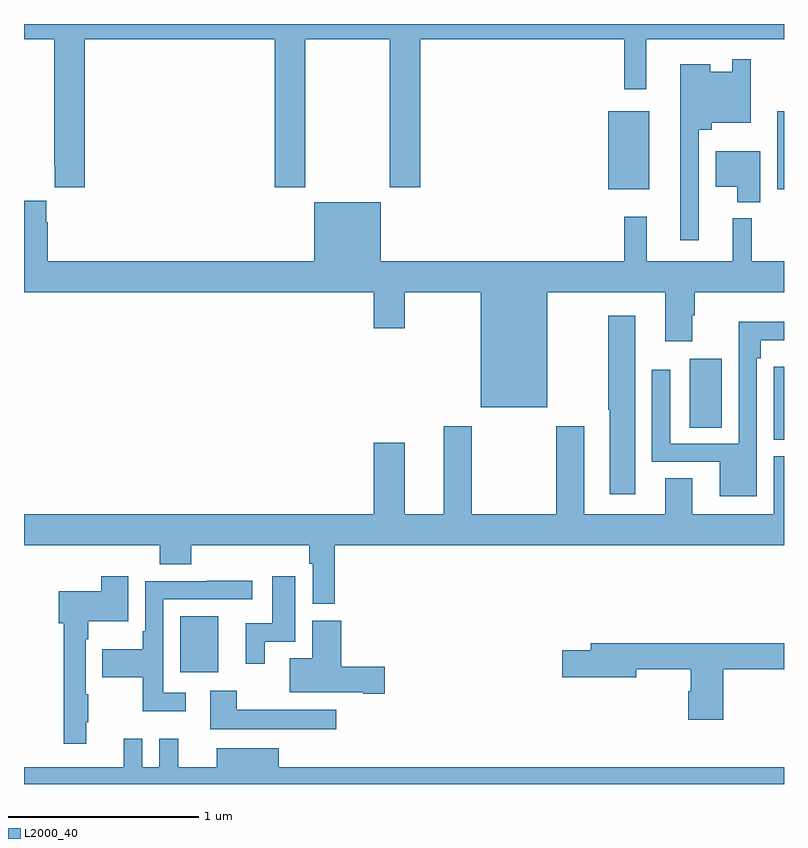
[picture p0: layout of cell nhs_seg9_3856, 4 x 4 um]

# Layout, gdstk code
import gdstk
lib = gdstk.Library(unit=1e-6, precision=1e-09)
def R(c, l, rs):  # rectangles x0, y0, x1, y1
    for r in rs: c.add(gdstk.rectangle(r[:2], r[2:], *l))
def P(c, l, *ps):  # polygons
    for p in ps: c.add(gdstk.Polygon(p, *l))
L2000_40 = (2000, 40)

nhs_seg9_3856 = lib.new_cell('nhs_seg9_3856')
R(nhs_seg9_3856, L2000_40, [(331.823,1193.087,332.023,1193.383), (334.946,1194.311,335,1194.697), (334.505,1194.376,334.672,1194.739), (334.076,1195.631,334.291,1196.041), (334.964,1195.631,335,1196.041)])
P(nhs_seg9_3856, L2000_40, [(331.319,1196.42),(332.321,1196.42),(332.321,1195.641),(332.481,1195.641),(332.481,1196.42),(332.926,1196.42),(332.926,1195.641),(333.086,1195.641),(333.086,1196.42),(334.159,1196.42),(334.159,1196.157),(334.276,1196.157),(334.276,1196.42),(335,1196.42),(335,1196.5),(331,1196.5),(331,1196.42),(331.159,1196.42),(331.159,1195.753),(331.163,1195.753),(331.163,1195.641),(331.319,1195.641)],
  [(334.551,1195.943),(334.62,1195.943),(334.62,1195.979),(334.824,1195.979),(334.824,1196.314),(334.728,1196.314),(334.728,1196.248),(334.612,1196.248),(334.612,1196.287),(334.454,1196.287),(334.454,1195.362),(334.551,1195.362)],
  [(334.876,1195.831),(334.64,1195.831),(334.64,1195.643),(334.754,1195.643),(334.754,1195.562),(334.876,1195.562)],
  [(333.754,1195.088),(334.376,1195.088),(334.376,1194.831),(334.516,1194.831),(334.516,1194.968),(334.529,1194.968),(334.529,1195.088),(335,1195.088),(335,1195.252),(334.83,1195.252),(334.83,1195.477),(334.73,1195.477),(334.73,1195.252),(334.277,1195.252),(334.277,1195.486),(334.159,1195.486),(334.159,1195.252),(332.878,1195.252),(332.878,1195.561),(332.528,1195.561),(332.528,1195.252),(331.124,1195.252),(331.124,1195.457),(331.117,1195.457),(331.117,1195.57),(331,1195.57),(331,1195.088),(332.84,1195.088),(332.84,1194.9),(333.004,1194.9),(333.004,1195.088),(333.404,1195.088),(333.404,1194.482),(333.754,1194.482)],
  [(334.216,1194.964),(334.075,1194.964),(334.075,1194.469),(334.082,1194.469),(334.082,1194.024),(334.216,1194.024)],
  [(334.857,1194.74),(334.877,1194.74),(334.877,1194.836),(335,1194.836),(335,1194.934),(334.761,1194.934),(334.761,1194.291),(334.401,1194.291),(334.401,1194.679),(334.305,1194.679),(334.305,1194.195),(334.661,1194.195),(334.661,1194.014),(334.857,1194.014)],
  [(332.636,1193.756),(335,1193.756),(335,1194.226),(334.946,1194.226),(334.946,1193.92),(334.516,1193.92),(334.516,1194.11),(334.376,1194.11),(334.376,1193.92),(333.949,1193.92),(333.949,1194.382),(333.802,1194.382),(333.802,1193.92),(333.357,1193.92),(333.357,1194.382),(333.209,1194.382),(333.209,1193.92),(333.004,1193.92),(333.004,1194.295),(332.84,1194.295),(332.84,1193.92),(331,1193.92),(331,1193.756),(331.715,1193.756),(331.715,1193.657),(331.88,1193.657),(331.88,1193.756),(332.5,1193.756),(332.5,1193.66),(332.52,1193.66),(332.52,1193.448),(332.636,1193.448)],
  [(331.328,1192.825),(331.339,1192.825),(331.339,1192.973),(331.326,1192.973),(331.326,1193.261),(331.339,1193.261),(331.339,1193.357),(331.549,1193.357),(331.549,1193.593),(331.406,1193.593),(331.406,1193.515),(331.184,1193.515),(331.184,1193.345),(331.21,1193.345),(331.21,1192.713),(331.328,1192.713)],
  [(332.266,1193.25),(332.428,1193.25),(332.428,1193.593),(332.306,1193.593),(332.306,1193.346),(332.168,1193.346),(332.168,1193.133),(332.266,1193.133)],
  [(331.852,1192.98),(331.734,1192.98),(331.734,1193.472),(332.2,1193.472),(332.2,1193.57),(331.963,1193.57),(331.963,1193.568),(331.638,1193.568),(331.638,1193.305),(331.626,1193.305),(331.626,1193.209),(331.411,1193.209),(331.411,1193.062),(331.626,1193.062),(331.626,1192.883),(331.852,1192.883)],
  [(332.899,1193.117),(332.669,1193.117),(332.669,1193.359),(332.516,1193.359),(332.516,1193.161),(332.399,1193.161),(332.399,1192.982),(332.786,1192.982),(332.786,1192.975),(332.899,1192.975)],
  [(334.679,1193.104),(335,1193.104),(335,1193.24),(333.983,1193.24),(333.983,1193.204),(333.834,1193.204),(333.834,1193.062),(334.222,1193.062),(334.222,1193.104),(334.508,1193.104),(334.508,1192.989),(334.496,1192.989),(334.496,1192.839),(334.679,1192.839)],
  [(332.644,1192.891),(332.119,1192.891),(332.119,1192.99),(331.979,1192.99),(331.979,1192.787),(332.644,1192.787)],
  [(335,1192.588),(332.341,1192.588),(332.341,1192.687),(332.015,1192.687),(332.015,1192.588),(331.811,1192.588),(331.811,1192.738),(331.713,1192.738),(331.713,1192.588),(331.623,1192.588),(331.623,1192.738),(331.526,1192.738),(331.526,1192.588),(331,1192.588),(331,1192.5),(335,1192.5)])

lib.write_gds('nhs_seg9_3856.gds')
